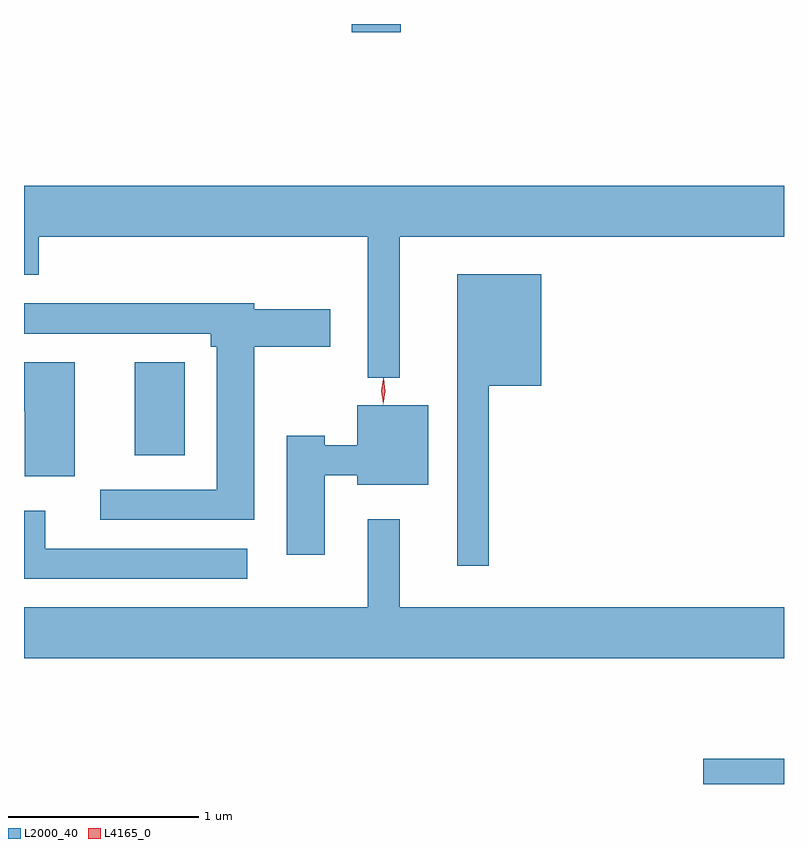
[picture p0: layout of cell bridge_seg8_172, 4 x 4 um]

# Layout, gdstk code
import gdstk
lib = gdstk.Library(unit=1e-6, precision=1e-09)
def R(c, l, rs):  # rectangles x0, y0, x1, y1
    for r in rs: c.add(gdstk.rectangle(r[:2], r[2:], *l))
def P(c, l, *ps):  # polygons
    for p in ps: c.add(gdstk.Polygon(p, *l))
L2000_40 = (2000, 40)
L4165_0 = (4165, 0)

bridge_seg8_172 = lib.new_cell('bridge_seg8_172')
R(bridge_seg8_172, L2000_40, [(1321.566,1928.995,1321.992,1929.129), (1318.576,1930.726,1318.839,1931.214), (1319.716,1932.951,1319.974,1932.995)])
P(bridge_seg8_172, L2000_40, [(1319.969,1931.876),(1321.992,1931.876),(1321.992,1932.144),(1317.992,1932.144),(1317.992,1931.676),(1318.069,1931.676),(1318.069,1931.876),(1319.801,1931.876),(1319.801,1931.133),(1319.969,1931.133)],
  [(1320.439,1931.091),(1320.714,1931.091),(1320.714,1931.679),(1320.271,1931.679),(1320.271,1930.143),(1320.439,1930.143)],
  [(1319.204,1931.296),(1319.604,1931.296),(1319.604,1931.494),(1319.204,1931.494),(1319.204,1931.524),(1317.992,1931.524),(1317.992,1931.366),(1318.976,1931.366),(1318.976,1931.296),(1319.006,1931.296),(1319.006,1930.544),(1318.393,1930.544),(1318.393,1930.386),(1319.204,1930.386)],
  [(1318.259,1931.214),(1317.992,1931.214),(1317.992,1930.956),(1317.996,1930.956),(1317.996,1930.616),(1318.259,1930.616)],
  [(1319.574,1930.621),(1319.746,1930.621),(1319.746,1930.571),(1320.119,1930.571),(1320.119,1930.989),(1319.746,1930.989),(1319.746,1930.779),(1319.574,1930.779),(1319.574,1930.829),(1319.376,1930.829),(1319.376,1930.201),(1319.574,1930.201)],
  [(1319.168,1930.234),(1318.104,1930.234),(1318.104,1930.434),(1317.992,1930.434),(1317.992,1930.076),(1319.168,1930.076)],
  [(1321.992,1929.924),(1319.969,1929.924),(1319.969,1930.388),(1319.801,1930.388),(1319.801,1929.924),(1317.992,1929.924),(1317.992,1929.656),(1321.992,1929.656)])
P(bridge_seg8_172, L4165_0, [(1319.883,1930.998),(1319.882,1930.999),(1319.873,1931.063),(1319.882,1931.127),(1319.883,1931.127),(1319.883,1931.127),(1319.893,1931.063),(1319.883,1930.999)],
  [(1319.883,1930.994),(1319.874,1931.062),(1319.884,1931.13),(1319.885,1931.13),(1319.885,1931.13),(1319.894,1931.062),(1319.884,1930.994),(1319.884,1930.994)])

lib.write_gds('bridge_seg8_172.gds')
